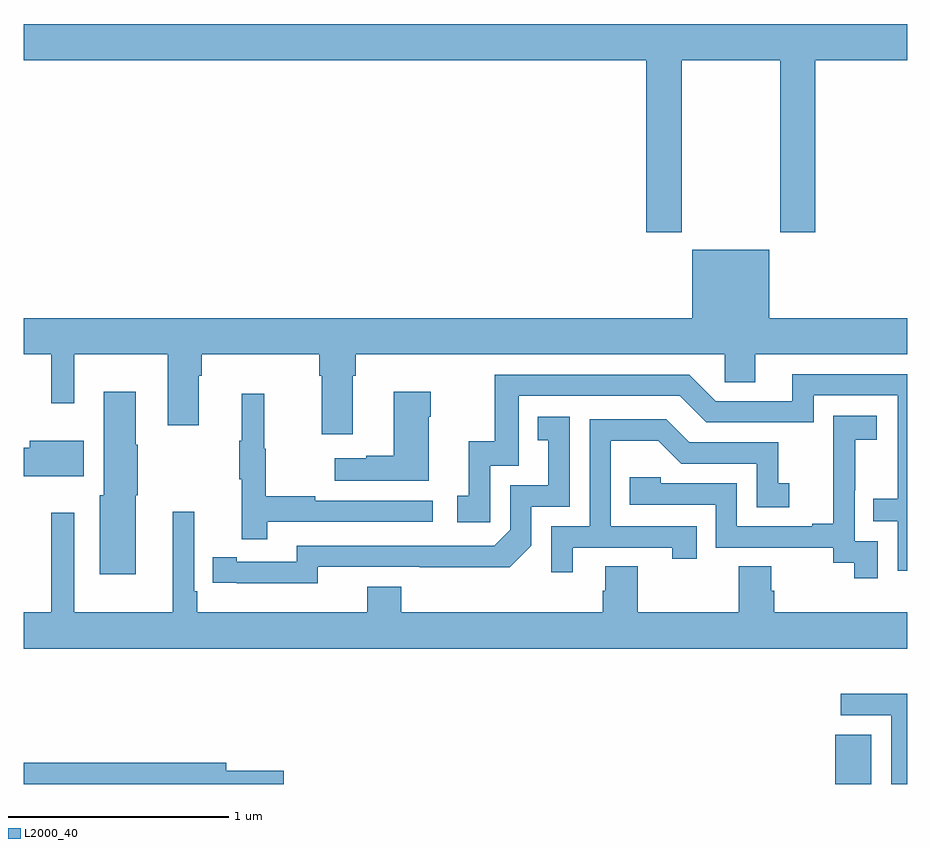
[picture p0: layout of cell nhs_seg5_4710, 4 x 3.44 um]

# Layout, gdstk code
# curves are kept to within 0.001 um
import gdstk
lib = gdstk.Library(unit=1e-6, precision=1e-09)
def R(c, l, rs):  # rectangles x0, y0, x1, y1
    for r in rs: c.add(gdstk.rectangle(r[:2], r[2:], *l))
def P(c, l, *ps):  # polygons
    for p in ps: c.add(gdstk.Polygon(p, *l))
L2000_40 = (2000, 40)

nhs_seg5_4710 = lib.new_cell('nhs_seg5_4710')
R(nhs_seg5_4710, L2000_40, [(390.674,870.799,390.838,871.021)])
P(nhs_seg5_4710, L2000_40, [(389.979,874.076),(390.424,874.076),(390.424,873.297),(390.584,873.297),(390.584,874.076),(391,874.076),(391,874.24),(387,874.24),(387,874.076),(389.819,874.076),(389.819,873.297),(389.979,873.297)],
  [(388.489,872.648),(388.502,872.648),(388.502,872.744),(390.174,872.744),(390.174,872.617),(390.313,872.617),(390.313,872.744),(391,872.744),(391,872.908),(390.376,872.908),(390.376,873.217),(390.026,873.217),(390.026,872.908),(387,872.908),(387,872.744),(387.125,872.744),(387.125,872.523),(387.229,872.523),(387.229,872.744),(387.653,872.744),(387.653,872.424),(387.793,872.424),(387.793,872.648),(387.806,872.648),(387.806,872.744),(388.337,872.744),(388.337,872.648),(388.349,872.648),(388.349,872.382),(388.489,872.382)],
  [(391,872.655),(390.479,872.655),(390.479,872.532),(390.132,872.532),(390.012,872.652),(389.133,872.652),(389.133,872.35),(389.015,872.35),(389.015,872.103),(388.962,872.103),(388.962,871.983),(389.112,871.983),(389.112,872.241),(389.241,872.241),(389.241,872.556),(389.97,872.556),(390.09,872.436),(390.576,872.436),(390.576,872.559),(390.957,872.559),(390.957,872.09),(390.847,872.09),(390.847,871.989),(390.957,871.989),(390.957,871.764),(391,871.764)],
  [(387.508,872.106),(387.516,872.106),(387.516,872.336),(387.508,872.336),(387.508,872.575),(387.362,872.575),(387.362,872.106),(387.344,872.106),(387.344,871.748),(387.508,871.748)],
  [(388.834,872.462),(388.842,872.462),(388.842,872.575),(388.676,872.575),(388.676,872.285),(388.55,872.285),(388.55,872.275),(388.407,872.275),(388.407,872.171),(388.834,872.171)],
  [(388.103,871.986),(388.852,871.986),(388.852,872.082),(388.319,872.082),(388.319,872.102),(388.096,872.102),(388.096,872.316),(388.088,872.316),(388.088,872.566),(387.986,872.566),(387.986,872.353),(387.975,872.353),(387.975,872.179),(387.986,872.179),(387.986,871.908),(388.103,871.908)],
  [(390.867,871.899),(390.762,871.899),(390.762,872.129),(390.764,872.129),(390.764,872.357),(390.862,872.357),(390.862,872.467),(390.664,872.467),(390.664,872.261),(390.665,872.261),(390.665,871.978),(390.569,871.978),(390.569,871.965),(390.228,871.965),(390.228,872.16),(389.883,872.16),(389.883,872.187),(389.743,872.187),(389.743,872.064),(390.132,872.064),(390.132,871.869),(390.666,871.869),(390.666,871.801),(390.759,871.801),(390.759,871.731),(390.867,871.731)],
  [(388.332,871.782),(389.2,871.781),(389.298,871.878),(389.298,872.055),(389.472,872.055),(389.472,872.461),(389.326,872.461),(389.326,872.355),(389.375,872.355),(389.375,872.151),(389.202,872.151),(389.202,871.95),(389.13,871.878),(388.236,871.878),(388.236,871.806),(387.964,871.806),(387.964,871.826),(387.856,871.826),(387.856,871.71),(388.332,871.709)],
  [(389.485,871.869),(389.936,871.869),(389.936,871.818),(390.047,871.818),(390.047,871.965),(389.658,871.965),(389.658,872.354),(389.872,872.354),(389.976,872.25),(390.318,872.25),(390.318,872.052),(390.466,872.052),(390.466,872.161),(390.417,872.161),(390.417,872.346),(390.013,872.346),(389.908,872.451),(389.562,872.451),(389.562,871.965),(389.388,871.965),(389.388,871.758),(389.485,871.758)],
  [(387.271,872.353),(387.026,872.353),(387.026,872.321),(387,872.321),(387,872.192),(387.271,872.192)],
  [(391,871.576),(390.398,871.576),(390.398,871.674),(390.385,871.674),(390.385,871.784),(390.238,871.784),(390.238,871.576),(389.781,871.576),(389.781,871.784),(389.633,871.784),(389.633,871.674),(389.621,871.674),(389.621,871.576),(388.709,871.576),(388.709,871.693),(388.556,871.693),(388.556,871.576),(387.785,871.576),(387.785,871.672),(387.771,871.672),(387.771,872.032),(387.674,872.032),(387.674,871.576),(387.229,871.576),(387.229,872.026),(387.125,872.026),(387.125,871.576),(387,871.576),(387,871.412),(391,871.412)],
  [(391,871.208),(390.699,871.208),(390.699,871.11),(390.927,871.11),(390.927,870.799),(391,870.799)],
  [(388.177,870.86),(387.916,870.86),(387.916,870.896),(387,870.896),(387,870.799),(388.177,870.799)])

lib.write_gds('nhs_seg5_4710.gds')
